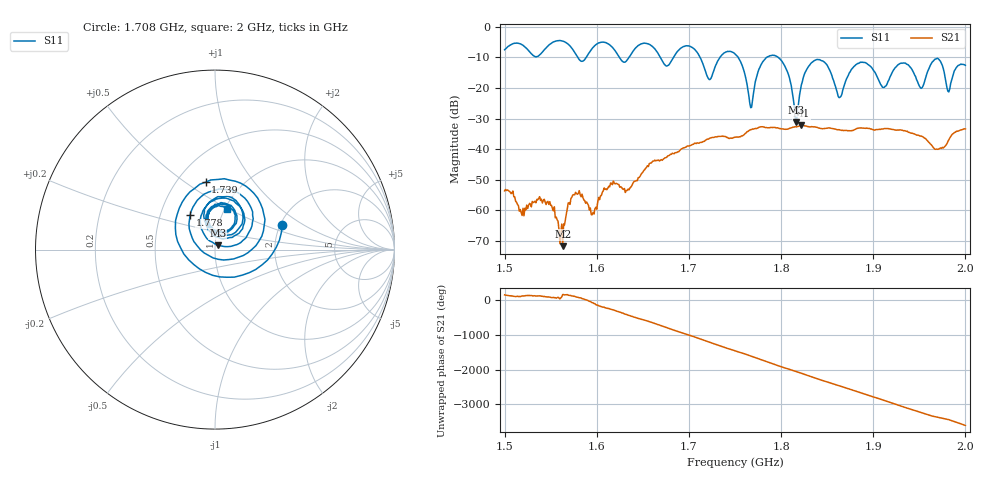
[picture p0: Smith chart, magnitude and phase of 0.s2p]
! NanoVNA-App by SYSJOINT et al v1.1.209 (+OD18)
! Date: 2026-01-21 14:16:34
! Start: 1,5GHz Stop: 2GHz Points: 501
! S-Parameter data: F S11 S21 S12 S22
# Hz S RI R 50
!  Frequency  S11_Real  S11_Imag  S21_Real  S21_Imag  S12_Real  S12_Imag  S22_Real  S22_Imag
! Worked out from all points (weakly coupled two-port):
!   501 points, 1.5 GHz to 2 GHz, reference 50 ohm
!   highest |S21| = -32.22 dB at 1.822 GHz (marker M1); lowest = -71.8 dB at 1.563 GHz (marker M2)
!   lowest |S11| = -31.3 dB at 1.816 GHz (marker M3), VSWR 1.06, Z = 51.5 + j2.36 ohm
!   |S11| at or under -10 dB: 1.712 GHz to 1.734 GHz (21.52 MHz wide, 1.25 % of centre); 1.753 GHz to 1.784 GHz (30.71 MHz wide, 1.74 % of centre); 1.797 GHz to end of sweep (the widest 3 of 6)
!   S12 and S22 are empty: the file has one direction only
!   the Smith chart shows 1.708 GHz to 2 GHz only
!   S11 on the Smith chart (normalised r, x): 1.708 GHz: 2.06, +0.67; 1.739 GHz: 0.69, +0.60; 1.778 GHz: 0.71, +0.29; 2 GHz: 1.03, +0.49
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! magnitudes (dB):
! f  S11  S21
! 1.5 GHz  -7.5  -53.7
! 1.563 GHz  -4.6  -71.8
! 1.584 GHz  -11.3  -54.7
! 1.596 GHz  -6.7  -60.7
! 1.667 GHz  -8.9  -43.6
! 1.708 GHz  -8.0  -38.2
! 1.722 GHz  -17.2  -36.5
! 1.739 GHz  -8.4  -35.9
! 1.75 GHz  -8.9  -36.1
! 1.767 GHz  -26.4  -33.6
! 1.778 GHz  -12.5  -32.7
! 1.801 GHz  -11.3  -33.4
! 1.816 GHz  -31.3  -32.7
! 1.822 GHz  -19.0  -32.2
! 1.834 GHz  -11.5  -32.7
! 1.864 GHz  -23.0  -33.8
! 1.885 GHz  -11.8  -33.1
! 1.917 GHz  -17.4  -33.3
! 1.952 GHz  -20.1  -35.7
! 1.969 GHz  -10.3  -40.0
! 1.982 GHz  -21.3  -36.9
! 2 GHz  -12.6  -33.4
